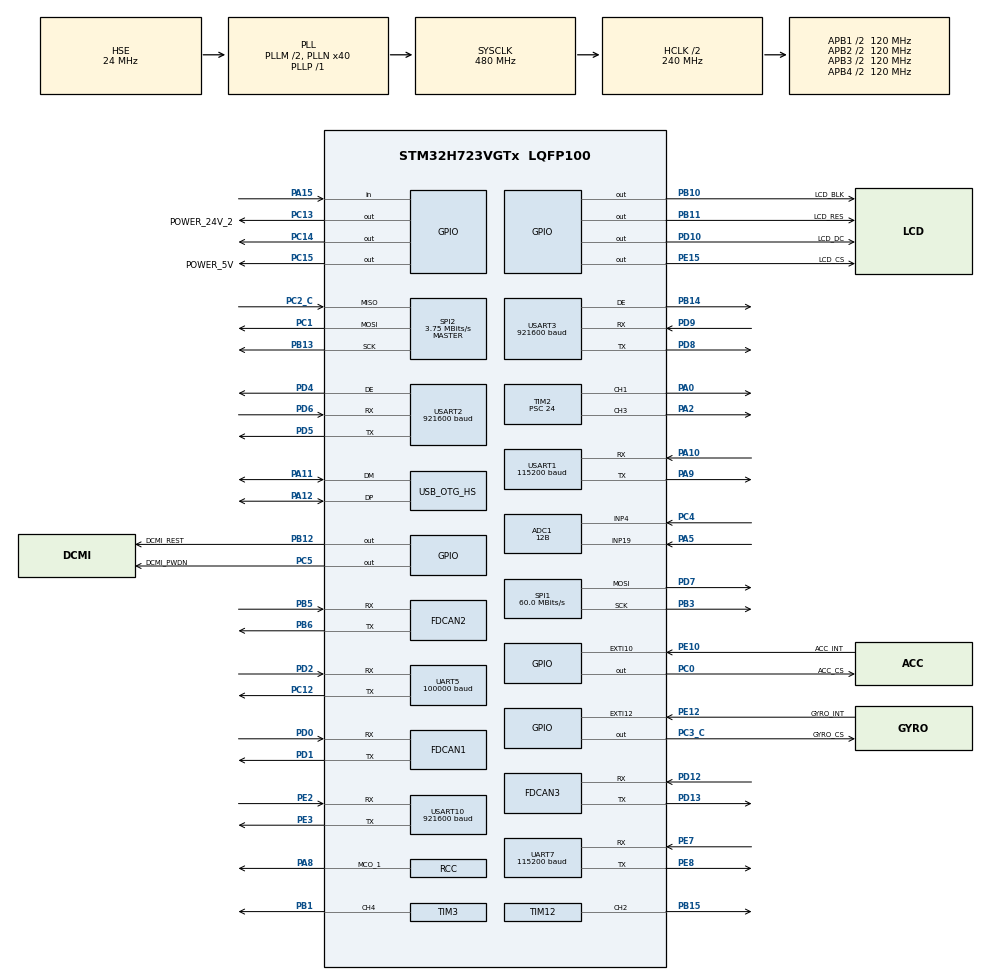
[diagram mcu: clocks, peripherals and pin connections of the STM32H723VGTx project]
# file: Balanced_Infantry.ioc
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ADC1.Channel-2\#ChannelRegularConversion=ADC_CHANNEL_4
ADC1.Channel-3\#ChannelRegularConversion=ADC_CHANNEL_19
ADC1.ClockPrescaler=ADC_CLOCK_ASYNC_DIV16
ADC1.ContinuousConvMode=ENABLE
ADC1.ConversionDataManagement=ADC_CONVERSIONDATA_DMA_CIRCULAR
ADC1.NbrOfConversion=2
ADC1.NbrOfConversionFlag=1
ADC1.OffsetNumber-2\#ChannelRegularConversion=ADC_OFFSET_NONE
ADC1.OffsetNumber-3\#ChannelRegularConversion=ADC_OFFSET_NONE
ADC1.OffsetSignedSaturation-2\#ChannelRegularConversion=DISABLE
ADC1.Rank-2\#ChannelRegularConversion=1
ADC1.Rank-3\#ChannelRegularConversion=2
ADC1.Resolution=ADC_RESOLUTION_12B
ADC1.SamplingTime-2\#ChannelRegularConversion=ADC_SAMPLETIME_32CYCLES_5
ADC1.SamplingTime-3\#ChannelRegularConversion=ADC_SAMPLETIME_32CYCLES_5
ADC1.master=1
ADC3.Channel-0\#ChannelRegularConversion=ADC_CHANNEL_TEMPSENSOR
ADC3.ClockPrescaler=ADC_CLOCK_ASYNC_DIV16
ADC3.NbrOfConversionFlag=1
ADC3.OffsetNumber-0\#ChannelRegularConversion=ADC_OFFSET_NONE
ADC3.OffsetSign-0\#ChannelRegularConversion=ADC3_OFFSET_SIGN_NEGATIVE
ADC3.Rank-0\#ChannelRegularConversion=1
ADC3.SamplingTime-0\#ChannelRegularConversion=ADC3_SAMPLETIME_2CYCLES_5
CORTEX_M7.AccessPermission-Cortex_Memory_Protection_Unit_Region0_Settings=MPU_REGION_FULL_ACCESS
CORTEX_M7.BaseAddress-Cortex_Memory_Protection_Unit_Region0_Settings=0x24000000
CORTEX_M7.CPU_DCache=Enabled
CORTEX_M7.CPU_ICache=Enabled
CORTEX_M7.Enable-Cortex_Memory_Protection_Unit_Region0_Settings=MPU_REGION_ENABLE
CORTEX_M7.Enable-Cortex_Memory_Protection_Unit_Region1_Settings=__NULL
CORTEX_M7.IsBufferable-Cortex_Memory_Protection_Unit_Region0_Settings=MPU_ACCESS_BUFFERABLE
CORTEX_M7.IsCacheable-Cortex_Memory_Protection_Unit_Region0_Settings=MPU_ACCESS_CACHEABLE
CORTEX_M7.IsShareable-Cortex_Memory_Protection_Unit_Region0_Settings=MPU_ACCESS_SHAREABLE
CORTEX_M7.MPU_Control=MPU_HFNMI_PRIVDEF
CORTEX_M7.Size-Cortex_Memory_Protection_Unit_Region0_Settings=MPU_REGION_SIZE_512KB
CORTEX_M7.TypeExtField-Cortex_Memory_Protection_Unit_Region0_Settings=MPU_TEX_LEVEL0
Dma.ADC1.4.Direction=DMA_PERIPH_TO_MEMORY
Dma.ADC1.4.EventEnable=DISABLE
Dma.ADC1.4.FIFOMode=DMA_FIFOMODE_DISABLE
Dma.ADC1.4.Instance=DMA1_Stream3
Dma.ADC1.4.MemDataAlignment=DMA_MDATAALIGN_HALFWORD
Dma.ADC1.4.MemInc=DMA_MINC_ENABLE
Dma.ADC1.4.Mode=DMA_CIRCULAR
Dma.ADC1.4.PeriphDataAlignment=DMA_PDATAALIGN_HALFWORD
Dma.ADC1.4.PeriphInc=DMA_PINC_DISABLE
Dma.ADC1.4.Polarity=HAL_DMAMUX_REQ_GEN_RISING
Dma.ADC1.4.Priority=DMA_PRIORITY_LOW
Dma.ADC1.4.RequestNumber=1
Dma.ADC1.4.SignalID=NONE
Dma.ADC1.4.SyncEnable=DISABLE
Dma.ADC1.4.SyncPolarity=HAL_DMAMUX_SYNC_NO_EVENT
Dma.ADC1.4.SyncRequestNumber=1
Dma.ADC1.4.SyncSignalID=NONE
Dma.Request0=USART1_RX
Dma.Request1=USART1_TX
Dma.Request10=USART10_TX
Dma.Request2=UART5_RX
Dma.Request3=SPI1_TX
Dma.Request4=ADC1
Dma.Request5=USART3_RX
Dma.Request6=USART3_TX
Dma.Request7=UART7_RX
Dma.Request8=UART7_TX
Dma.Request9=USART10_RX
Dma.SPI1_TX.3.Direction=DMA_MEMORY_TO_PERIPH
Dma.SPI1_TX.3.EventEnable=DISABLE
Dma.SPI1_TX.3.FIFOMode=DMA_FIFOMODE_DISABLE
Dma.SPI1_TX.3.Instance=DMA2_Stream1
Dma.SPI1_TX.3.MemDataAlignment=DMA_MDATAALIGN_BYTE
Dma.SPI1_TX.3.MemInc=DMA_MINC_ENABLE
Dma.SPI1_TX.3.Mode=DMA_NORMAL
Dma.SPI1_TX.3.PeriphDataAlignment=DMA_PDATAALIGN_BYTE
Dma.SPI1_TX.3.PeriphInc=DMA_PINC_DISABLE
Dma.SPI1_TX.3.Polarity=HAL_DMAMUX_REQ_GEN_RISING
Dma.SPI1_TX.3.Priority=DMA_PRIORITY_LOW
Dma.SPI1_TX.3.RequestNumber=1
Dma.SPI1_TX.3.SignalID=NONE
Dma.SPI1_TX.3.SyncEnable=DISABLE
Dma.SPI1_TX.3.SyncPolarity=HAL_DMAMUX_SYNC_NO_EVENT
Dma.SPI1_TX.3.SyncRequestNumber=1
Dma.SPI1_TX.3.SyncSignalID=NONE
Dma.UART5_RX.2.Direction=DMA_PERIPH_TO_MEMORY
Dma.UART5_RX.2.EventEnable=DISABLE
Dma.UART5_RX.2.FIFOMode=DMA_FIFOMODE_DISABLE
Dma.UART5_RX.2.Instance=DMA1_Stream0
Dma.UART5_RX.2.MemDataAlignment=DMA_MDATAALIGN_BYTE
Dma.UART5_RX.2.MemInc=DMA_MINC_ENABLE
Dma.UART5_RX.2.Mode=DMA_CIRCULAR
Dma.UART5_RX.2.PeriphDataAlignment=DMA_PDATAALIGN_BYTE
Dma.UART5_RX.2.PeriphInc=DMA_PINC_DISABLE
Dma.UART5_RX.2.Polarity=HAL_DMAMUX_REQ_GEN_RISING
Dma.UART5_RX.2.Priority=DMA_PRIORITY_LOW
Dma.UART5_RX.2.RequestNumber=1
Dma.UART5_RX.2.SignalID=NONE
Dma.UART5_RX.2.SyncEnable=DISABLE
Dma.UART5_RX.2.SyncPolarity=HAL_DMAMUX_SYNC_NO_EVENT
Dma.UART5_RX.2.SyncRequestNumber=1
Dma.UART5_RX.2.SyncSignalID=NONE
Dma.UART7_RX.7.Direction=DMA_PERIPH_TO_MEMORY
Dma.UART7_RX.7.EventEnable=DISABLE
Dma.UART7_RX.7.FIFOMode=DMA_FIFOMODE_DISABLE
Dma.UART7_RX.7.Instance=DMA1_Stream6
Dma.UART7_RX.7.MemDataAlignment=DMA_MDATAALIGN_BYTE
Dma.UART7_RX.7.MemInc=DMA_MINC_ENABLE
Dma.UART7_RX.7.Mode=DMA_NORMAL
Dma.UART7_RX.7.PeriphDataAlignment=DMA_PDATAALIGN_BYTE
Dma.UART7_RX.7.PeriphInc=DMA_PINC_DISABLE
Dma.UART7_RX.7.Polarity=HAL_DMAMUX_REQ_GEN_RISING
Dma.UART7_RX.7.Priority=DMA_PRIORITY_LOW
Dma.UART7_RX.7.RequestNumber=1
Dma.UART7_RX.7.SignalID=NONE
Dma.UART7_RX.7.SyncEnable=DISABLE
Dma.UART7_RX.7.SyncPolarity=HAL_DMAMUX_SYNC_NO_EVENT
Dma.UART7_RX.7.SyncRequestNumber=1
Dma.UART7_RX.7.SyncSignalID=NONE
Dma.UART7_TX.8.Direction=DMA_MEMORY_TO_PERIPH
Dma.UART7_TX.8.EventEnable=DISABLE
Dma.UART7_TX.8.FIFOMode=DMA_FIFOMODE_DISABLE
Dma.UART7_TX.8.Instance=DMA1_Stream7
Dma.UART7_TX.8.MemDataAlignment=DMA_MDATAALIGN_BYTE
Dma.UART7_TX.8.MemInc=DMA_MINC_ENABLE
Dma.UART7_TX.8.Mode=DMA_NORMAL
Dma.UART7_TX.8.PeriphDataAlignment=DMA_PDATAALIGN_BYTE
Dma.UART7_TX.8.PeriphInc=DMA_PINC_DISABLE
Dma.UART7_TX.8.Polarity=HAL_DMAMUX_REQ_GEN_RISING
Dma.UART7_TX.8.Priority=DMA_PRIORITY_LOW
Dma.UART7_TX.8.RequestNumber=1
Dma.UART7_TX.8.SignalID=NONE
Dma.UART7_TX.8.SyncEnable=DISABLE
Dma.UART7_TX.8.SyncPolarity=HAL_DMAMUX_SYNC_NO_EVENT
Dma.UART7_TX.8.SyncRequestNumber=1
Dma.UART7_TX.8.SyncSignalID=NONE
Dma.USART10_RX.9.Direction=DMA_PERIPH_TO_MEMORY
Dma.USART10_RX.9.EventEnable=DISABLE
Dma.USART10_RX.9.FIFOMode=DMA_FIFOMODE_DISABLE
Dma.USART10_RX.9.Instance=DMA2_Stream0
Dma.USART10_RX.9.MemDataAlignment=DMA_MDATAALIGN_BYTE
Dma.USART10_RX.9.MemInc=DMA_MINC_ENABLE
Dma.USART10_RX.9.Mode=DMA_NORMAL
Dma.USART10_RX.9.PeriphDataAlignment=DMA_PDATAALIGN_BYTE
Dma.USART10_RX.9.PeriphInc=DMA_PINC_DISABLE
Dma.USART10_RX.9.Polarity=HAL_DMAMUX_REQ_GEN_RISING
Dma.USART10_RX.9.Priority=DMA_PRIORITY_LOW
Dma.USART10_RX.9.RequestNumber=1
Dma.USART10_RX.9.SignalID=NONE
Dma.USART10_RX.9.SyncEnable=DISABLE
Dma.USART10_RX.9.SyncPolarity=HAL_DMAMUX_SYNC_NO_EVENT
Dma.USART10_RX.9.SyncRequestNumber=1
Dma.USART10_RX.9.SyncSignalID=NONE
Dma.USART10_TX.10.Direction=DMA_MEMORY_TO_PERIPH
Dma.USART10_TX.10.EventEnable=DISABLE
Dma.USART10_TX.10.FIFOMode=DMA_FIFOMODE_DISABLE
Dma.USART10_TX.10.Instance=DMA2_Stream2
Dma.USART10_TX.10.MemDataAlignment=DMA_MDATAALIGN_BYTE
Dma.USART10_TX.10.MemInc=DMA_MINC_ENABLE
Dma.USART10_TX.10.Mode=DMA_NORMAL
Dma.USART10_TX.10.PeriphDataAlignment=DMA_PDATAALIGN_BYTE
Dma.USART10_TX.10.PeriphInc=DMA_PINC_DISABLE
Dma.USART10_TX.10.Polarity=HAL_DMAMUX_REQ_GEN_RISING
Dma.USART10_TX.10.Priority=DMA_PRIORITY_LOW
Dma.USART10_TX.10.RequestNumber=1
Dma.USART10_TX.10.SignalID=NONE
Dma.USART10_TX.10.SyncEnable=DISABLE
Dma.USART10_TX.10.SyncPolarity=HAL_DMAMUX_SYNC_NO_EVENT
Dma.USART10_TX.10.SyncRequestNumber=1
Dma.USART10_TX.10.SyncSignalID=NONE
Dma.USART1_RX.0.Direction=DMA_PERIPH_TO_MEMORY
Dma.USART1_RX.0.EventEnable=DISABLE
Dma.USART1_RX.0.FIFOMode=DMA_FIFOMODE_DISABLE
Dma.USART1_RX.0.Instance=DMA1_Stream1
Dma.USART1_RX.0.MemDataAlignment=DMA_MDATAALIGN_BYTE
Dma.USART1_RX.0.MemInc=DMA_MINC_ENABLE
Dma.USART1_RX.0.Mode=DMA_NORMAL
Dma.USART1_RX.0.PeriphDataAlignment=DMA_PDATAALIGN_BYTE
Dma.USART1_RX.0.PeriphInc=DMA_PINC_DISABLE
Dma.USART1_RX.0.Polarity=HAL_DMAMUX_REQ_GEN_RISING
Dma.USART1_RX.0.Priority=DMA_PRIORITY_LOW
Dma.USART1_RX.0.RequestNumber=1
Dma.USART1_RX.0.SignalID=NONE
Dma.USART1_RX.0.SyncEnable=DISABLE
Dma.USART1_RX.0.SyncPolarity=HAL_DMAMUX_SYNC_NO_EVENT
Dma.USART1_RX.0.SyncRequestNumber=1
Dma.USART1_RX.0.SyncSignalID=NONE
Dma.USART1_TX.1.Direction=DMA_MEMORY_TO_PERIPH
Dma.USART1_TX.1.EventEnable=DISABLE
Dma.USART1_TX.1.FIFOMode=DMA_FIFOMODE_DISABLE
Dma.USART1_TX.1.Instance=DMA1_Stream2
Dma.USART1_TX.1.MemDataAlignment=DMA_MDATAALIGN_BYTE
Dma.USART1_TX.1.MemInc=DMA_MINC_ENABLE
Dma.USART1_TX.1.Mode=DMA_NORMAL
Dma.USART1_TX.1.PeriphDataAlignment=DMA_PDATAALIGN_BYTE
Dma.USART1_TX.1.PeriphInc=DMA_PINC_DISABLE
Dma.USART1_TX.1.Polarity=HAL_DMAMUX_REQ_GEN_RISING
Dma.USART1_TX.1.Priority=DMA_PRIORITY_LOW
Dma.USART1_TX.1.RequestNumber=1
Dma.USART1_TX.1.SignalID=NONE
Dma.USART1_TX.1.SyncEnable=DISABLE
Dma.USART1_TX.1.SyncPolarity=HAL_DMAMUX_SYNC_NO_EVENT
Dma.USART1_TX.1.SyncRequestNumber=1
Dma.USART1_TX.1.SyncSignalID=NONE
Dma.USART3_RX.5.Direction=DMA_PERIPH_TO_MEMORY
Dma.USART3_RX.5.EventEnable=DISABLE
Dma.USART3_RX.5.FIFOMode=DMA_FIFOMODE_DISABLE
Dma.USART3_RX.5.Instance=DMA1_Stream4
Dma.USART3_RX.5.MemDataAlignment=DMA_MDATAALIGN_BYTE
Dma.USART3_RX.5.MemInc=DMA_MINC_ENABLE
Dma.USART3_RX.5.Mode=DMA_NORMAL
Dma.USART3_RX.5.PeriphDataAlignment=DMA_PDATAALIGN_BYTE
Dma.USART3_RX.5.PeriphInc=DMA_PINC_DISABLE
Dma.USART3_RX.5.Polarity=HAL_DMAMUX_REQ_GEN_RISING
Dma.USART3_RX.5.Priority=DMA_PRIORITY_LOW
Dma.USART3_RX.5.RequestNumber=1
Dma.USART3_RX.5.SignalID=NONE
Dma.USART3_RX.5.SyncEnable=DISABLE
Dma.USART3_RX.5.SyncPolarity=HAL_DMAMUX_SYNC_NO_EVENT
Dma.USART3_RX.5.SyncRequestNumber=1
Dma.USART3_RX.5.SyncSignalID=NONE
Dma.USART3_TX.6.Direction=DMA_MEMORY_TO_PERIPH
Dma.USART3_TX.6.EventEnable=DISABLE
Dma.USART3_TX.6.FIFOMode=DMA_FIFOMODE_DISABLE
Dma.USART3_TX.6.Instance=DMA1_Stream5
Dma.USART3_TX.6.MemDataAlignment=DMA_MDATAALIGN_BYTE
Dma.USART3_TX.6.MemInc=DMA_MINC_ENABLE
Dma.USART3_TX.6.Mode=DMA_NORMAL
Dma.USART3_TX.6.PeriphDataAlignment=DMA_PDATAALIGN_BYTE
Dma.USART3_TX.6.PeriphInc=DMA_PINC_DISABLE
Dma.USART3_TX.6.Polarity=HAL_DMAMUX_REQ_GEN_RISING
Dma.USART3_TX.6.Priority=DMA_PRIORITY_LOW
Dma.USART3_TX.6.RequestNumber=1
Dma.USART3_TX.6.SignalID=NONE
Dma.USART3_TX.6.SyncEnable=DISABLE
Dma.USART3_TX.6.SyncPolarity=HAL_DMAMUX_SYNC_NO_EVENT
Dma.USART3_TX.6.SyncRequestNumber=1
Dma.USART3_TX.6.SyncSignalID=NONE
FDCAN1.AutoRetransmission=ENABLE
FDCAN1.CalculateBaudRateNominal=1000000
FDCAN1.CalculateTimeBitNominal=1000
FDCAN1.CalculateTimeQuantumNominal=200.0
FDCAN1.DataSyncJumpWidth=1
FDCAN1.DataTimeSeg1=1
FDCAN1.DataTimeSeg2=1
FDCAN1.ExtFiltersNbr=0
FDCAN1.FrameFormat=FDCAN_FRAME_CLASSIC
FDCAN1.NominalPrescaler=24
FDCAN1.NominalSyncJumpWidth=1
FDCAN1.NominalTimeSeg1=2
FDCAN1.NominalTimeSeg2=2
FDCAN1.ProtocolException=ENABLE
FDCAN1.RxBuffersNbr=0
FDCAN1.RxFifo0ElmtsNbr=32
FDCAN1.RxFifo1ElmtsNbr=0
FDCAN1.StdFiltersNbr=1
FDCAN1.TxBuffersNbr=0
FDCAN1.TxEventsNbr=0
FDCAN1.TxFifoQueueElmtsNbr=32
FDCAN2.AutoRetransmission=ENABLE
FDCAN2.CalculateBaudRateNominal=1000000
FDCAN2.CalculateTimeBitNominal=1000
FDCAN2.CalculateTimeQuantumNominal=200.0
FDCAN2.MessageRAMOffset=0x406
FDCAN2.NominalPrescaler=24
FDCAN2.ProtocolException=ENABLE
FDCAN2.RxFifo0ElmtsNbr=32
FDCAN2.StdFiltersNbr=1
FDCAN2.TxFifoQueueElmtsNbr=32
FDCAN3.AutoRetransmission=ENABLE
FDCAN3.CalculateBaudRateNominal=1000000
FDCAN3.CalculateTimeBitNominal=1000
FDCAN3.CalculateTimeQuantumNominal=200.0
FDCAN3.MessageRAMOffset=0x812
FDCAN3.NominalPrescaler=24
FDCAN3.ProtocolException=ENABLE
FDCAN3.RxFifo0ElmtsNbr=32
FDCAN3.StdFiltersNbr=1
FDCAN3.TxFifoQueueElmtsNbr=32
FREERTOS.INCLUDE_eTaskGetState=1
FREERTOS.INCLUDE_uxTaskGetStackHighWaterMark=1
FREERTOS.INCLUDE_vTaskDelayUntil=1
FREERTOS.INCLUDE_xQueueGetMutexHolder=1
FREERTOS.INCLUDE_xTaskGetCurrentTaskHandle=1
FREERTOS.INCLUDE_xTimerPendFunctionCall=1
FREERTOS.Tasks01=defaultTask,-3,128,StartDefaultTask,Default,NULL,Dynamic,NULL,NULL;ImuTask,2,1024,ImuTask_Entry,As weak,NULL,Static,ImuTaskBuffer,ImuTaskControlBlock;BuzzerTask,-1,128,Buzzer_Task,As weak,NULL,Static,BuzzerTaskBuffer,BuzzerTaskControlBlock
FREERTOS.configENABLE_FPU=1
FREERTOS.configUSE_COUNTING_SEMAPHORES=1
FREERTOS.configUSE_RECURSIVE_MUTEXES=1
FREERTOS.configUSE_TIMERS=1
FREERTOS.configUSE_TRACE_FACILITY=1
Mcu.Family=STM32H7
Mcu.Name=STM32H723VGTx
Mcu.Package=LQFP100
NVIC.DMA1_Stream0_IRQn=true\:5\:0\:false\:false\:true\:false\:false\:true\:true
NVIC.DMA1_Stream1_IRQn=true\:5\:0\:false\:false\:true\:true\:false\:true\:true
NVIC.DMA1_Stream2_IRQn=true\:5\:0\:false\:false\:true\:true\:false\:true\:true
NVIC.DMA1_Stream3_IRQn=true\:5\:0\:false\:false\:true\:true\:false\:true\:true
NVIC.DMA1_Stream4_IRQn=true\:5\:0\:false\:false\:true\:true\:false\:true\:true
NVIC.DMA1_Stream5_IRQn=true\:5\:0\:false\:false\:true\:true\:false\:true\:true
NVIC.DMA1_Stream6_IRQn=true\:5\:0\:false\:false\:true\:true\:false\:true\:true
NVIC.DMA1_Stream7_IRQn=true\:5\:0\:false\:false\:true\:true\:false\:true\:true
NVIC.DMA2_Stream0_IRQn=true\:5\:0\:false\:false\:true\:true\:false\:true\:true
NVIC.DMA2_Stream1_IRQn=true\:5\:0\:false\:false\:true\:false\:false\:true\:true
NVIC.DMA2_Stream2_IRQn=true\:5\:0\:false\:false\:true\:true\:false\:true\:true
NVIC.FDCAN1_IT0_IRQn=true\:5\:0\:false\:false\:true\:true\:true\:true\:true
NVIC.FDCAN1_IT1_IRQn=true\:5\:0\:false\:false\:true\:true\:true\:true\:true
NVIC.FDCAN2_IT0_IRQn=true\:5\:0\:false\:false\:true\:true\:true\:true\:true
NVIC.FDCAN2_IT1_IRQn=true\:5\:0\:false\:false\:true\:true\:true\:true\:true
NVIC.FDCAN3_IT0_IRQn=true\:5\:0\:false\:false\:true\:true\:true\:true\:true
NVIC.FDCAN3_IT1_IRQn=true\:5\:0\:false\:false\:true\:true\:true\:true\:true
NVIC.FDCAN_CAL_IRQn=true\:5\:0\:false\:false\:true\:true\:true\:true\:true
NVIC.OTG_HS_IRQn=true\:5\:0\:false\:false\:true\:true\:false\:true\:true
NVIC.PriorityGroup=NVIC_PRIORITYGROUP_4
NVIC.SPI1_IRQn=true\:5\:0\:false\:false\:true\:true\:false\:true\:true
NVIC.TIM23_IRQn=true\:15\:0\:false\:false\:true\:false\:false\:true\:true
NVIC.TIM6_DAC_IRQn=true\:5\:0\:false\:false\:false\:true\:true\:true\:true
NVIC.TimeBase=TIM23_IRQn
NVIC.TimeBaseIP=TIM23
NVIC.UART5_IRQn=true\:5\:0\:false\:false\:true\:true\:true\:true\:true
NVIC.UART7_IRQn=true\:5\:0\:true\:false\:true\:false\:true\:true\:true
NVIC.USART10_IRQn=true\:5\:0\:true\:false\:true\:false\:true\:true\:true
NVIC.USART1_IRQn=true\:5\:0\:true\:false\:true\:false\:true\:true\:true
NVIC.USART2_IRQn=true\:5\:0\:true\:false\:true\:false\:true\:true\:true
NVIC.USART3_IRQn=true\:5\:0\:true\:false\:true\:false\:true\:true\:true
PA0.Signal=S_TIM2_CH1_ETR
PA10.Mode=Asynchronous
PA10.Signal=USART1_RX
PA11.Mode=Device_Only_FS
PA11.Signal=USB_OTG_HS_DM
PA12.Mode=Device_Only_FS
PA12.Signal=USB_OTG_HS_DP
PA13(JTMS/SWDIO).Mode=Serial_Wire
PA13(JTMS/SWDIO).Signal=DEBUG_JTMS-SWDIO
PA14(JTCK/SWCLK).Mode=Serial_Wire
PA14(JTCK/SWCLK).Signal=DEBUG_JTCK-SWCLK
PA15(JTDI).Signal=GPIO_Input
PA2.Signal=S_TIM2_CH3
PA5.Signal=ADCx_INP19
PA8.Mode=Clock-out-1
PA8.Signal=RCC_MCO_1
PA9.Mode=Asynchronous
PA9.Signal=USART1_TX
PB1.Signal=S_TIM3_CH4
PB10.GPIO_Label=LCD_BLK
PB10.GPIO_Speed=GPIO_SPEED_FREQ_VERY_HIGH
PB10.Signal=GPIO_Output
PB11.GPIO_Label=LCD_RES
PB11.GPIO_Speed=GPIO_SPEED_FREQ_VERY_HIGH
PB11.Signal=GPIO_Output
PB12.GPIO_Label=DCMI_REST
PB12.GPIO_PuPd=GPIO_PULLUP
PB12.GPIO_Speed=GPIO_SPEED_FREQ_VERY_HIGH
PB12.PinState=GPIO_PIN_SET
PB12.Signal=GPIO_Output
PB13.GPIO_Speed=GPIO_SPEED_FREQ_VERY_HIGH
PB13.Mode=Full_Duplex_Master
PB13.Signal=SPI2_SCK
PB14.Mode=Hardware Flow Control (RS485)
PB14.Signal=USART3_DE
PB15.Signal=S_TIM12_CH2
PB3(JTDO/TRACESWO).GPIO_Speed=GPIO_SPEED_FREQ_VERY_HIGH
PB3(JTDO/TRACESWO).Mode=TX_Only_Simplex_Unidirect_Master
PB3(JTDO/TRACESWO).Signal=SPI1_SCK
PB5.GPIO_Speed=GPIO_SPEED_FREQ_VERY_HIGH
PB5.Mode=FDCAN_Activate
PB5.Signal=FDCAN2_RX
PB6.GPIO_Speed=GPIO_SPEED_FREQ_VERY_HIGH
PB6.Mode=FDCAN_Activate
PB6.Signal=FDCAN2_TX
PC0.GPIO_Label=ACC_CS
PC0.GPIO_Speed=GPIO_SPEED_FREQ_VERY_HIGH
PC0.PinState=GPIO_PIN_SET
PC0.Signal=GPIO_Output
PC1.GPIO_Speed=GPIO_SPEED_FREQ_VERY_HIGH
PC1.Mode=Full_Duplex_Master
PC1.Signal=SPI2_MOSI
PC12.GPIO_Speed=GPIO_SPEED_FREQ_LOW
PC12.Mode=Asynchronous
PC12.Signal=UART5_TX
PC13.GPIO_Label=POWER_24V_2
PC13.PinState=GPIO_PIN_SET
PC13.Signal=GPIO_Output
PC14-OSC32_IN.Signal=GPIO_Output
PC15-OSC32_OUT.GPIO_Label=POWER_5V
PC15-OSC32_OUT.PinState=GPIO_PIN_SET
PC15-OSC32_OUT.Signal=GPIO_Output
PC2_C.GPIO_Speed=GPIO_SPEED_FREQ_VERY_HIGH
PC2_C.Mode=Full_Duplex_Master
PC2_C.Signal=SPI2_MISO
PC3_C.GPIO_Label=GYRO_CS
PC3_C.GPIO_Speed=GPIO_SPEED_FREQ_VERY_HIGH
PC3_C.PinState=GPIO_PIN_SET
PC3_C.Signal=GPIO_Output
PC4.Signal=ADCx_INP4
PC5.GPIO_Label=DCMI_PWDN
PC5.GPIO_PuPd=GPIO_NOPULL
PC5.GPIO_Speed=GPIO_SPEED_FREQ_VERY_HIGH
PC5.PinState=GPIO_PIN_SET
PC5.Signal=GPIO_Output
PD0.GPIO_Speed=GPIO_SPEED_FREQ_VERY_HIGH
PD0.Mode=FDCAN_Activate
PD0.Signal=FDCAN1_RX
PD1.GPIO_Speed=GPIO_SPEED_FREQ_VERY_HIGH
PD1.Mode=FDCAN_Activate
PD1.Signal=FDCAN1_TX
PD10.GPIO_Label=LCD_DC
PD10.GPIO_Speed=GPIO_SPEED_FREQ_VERY_HIGH
PD10.Signal=GPIO_Output
PD12.Mode=FDCAN_Activate
PD12.Signal=FDCAN3_RX
PD13.Mode=FDCAN_Activate
PD13.Signal=FDCAN3_TX
PD2.GPIO_Speed=GPIO_SPEED_FREQ_LOW
PD2.Mode=Asynchronous
PD2.Signal=UART5_RX
PD4.Mode=Hardware Flow Control (RS485)
PD4.Signal=USART2_DE
PD5.Mode=Asynchronous
PD5.Signal=USART2_TX
PD6.Mode=Asynchronous
PD6.Signal=USART2_RX
PD7.GPIO_Speed=GPIO_SPEED_FREQ_VERY_HIGH
PD7.Mode=TX_Only_Simplex_Unidirect_Master
PD7.Signal=SPI1_MOSI
PD8.Mode=Asynchronous
PD8.Signal=USART3_TX
PD9.Mode=Asynchronous
PD9.Signal=USART3_RX
PE10.GPIO_Label=ACC_INT
PE10.Signal=GPXTI10
PE12.GPIO_Label=GYRO_INT
PE12.Signal=GPXTI12
PE15.GPIO_Label=LCD_CS
PE15.GPIO_Speed=GPIO_SPEED_FREQ_VERY_HIGH
PE15.Signal=GPIO_Output
PE2.Mode=Asynchronous
PE2.Signal=USART10_RX
PE3.Mode=Asynchronous
PE3.Signal=USART10_TX
PE7.Mode=Asynchronous
PE7.Signal=UART7_RX
PE8.Mode=Asynchronous
PE8.Signal=UART7_TX
PE9.Signal=S_TIM1_CH1
PH0-OSC_IN.Mode=HSE-External-Oscillator
PH0-OSC_IN.Signal=RCC_OSC_IN
PH1-OSC_OUT.Mode=HSE-External-Oscillator
PH1-OSC_OUT.Signal=RCC_OSC_OUT
ProjectManager.HeapSize=0x1000
ProjectManager.StackSize=0x2000
ProjectManager.TargetToolchain=STM32CubeIDE
RCC.ADCFreq_Value=96000000
RCC.APB1Freq_Value=120000000
RCC.APB2Freq_Value=120000000
RCC.APB3Freq_Value=120000000
RCC.APB4Freq_Value=120000000
RCC.CortexFreq_Value=480000000
RCC.D1PPRE=RCC_APB3_DIV2
RCC.D2PPRE1=RCC_APB1_DIV2
RCC.D2PPRE2=RCC_APB2_DIV2
RCC.D3PPRE=RCC_APB4_DIV2
RCC.DIVM1=2
RCC.DIVM2=2
RCC.DIVN1=40
RCC.DIVN2=16
RCC.DIVP1=1
RCC.DIVQ1=4
RCC.HCLKFreq_Value=240000000
RCC.HPRE=RCC_HCLK_DIV2
RCC.HSE_VALUE=24000000
RCC.PLL2FRACN=0
RCC.PLL2_VCI_Range-AdvancedSettings=RCC_PLL2VCIRANGE_0
RCC.PLL2_VCO_SEL-AdvancedSettings=RCC_PLL2VCOMEDIUM
RCC.PLL3FRACN=0
RCC.PLL3_VCO_SEL-AdvancedSettings=RCC_PLL3VCOMEDIUM
RCC.PLLFRACN=0
RCC.PLLSourceVirtual=RCC_PLLSOURCE_HSE
RCC.SPI6CLockSelection=RCC_SPI6CLKSOURCE_HSE
RCC.SYSCLKFreq_VALUE=480000000
RCC.SYSCLKSource=RCC_SYSCLKSOURCE_PLLCLK
RCC.USBCLockSelection=RCC_USBCLKSOURCE_HSI48
RCC.USBFreq_Value=48000000
SH.ADCx_INP19.0=ADC1_INP19,IN19-Single-Ended
SH.ADCx_INP4.0=ADC1_INP4,IN4-Single-Ended
SH.S_TIM12_CH2.0=TIM12_CH2,PWM Generation2 CH2
SH.S_TIM1_CH1.0=TIM1_CH1
SH.S_TIM2_CH1_ETR.0=TIM2_CH1,PWM Generation1 CH1
SH.S_TIM2_CH3.0=TIM2_CH3,PWM Generation3 CH3
SH.S_TIM3_CH4.0=TIM3_CH4,PWM Generation4 CH4
SPI1.BaudRatePrescaler=SPI_BAUDRATEPRESCALER_2
SPI1.CLKPolarity=SPI_POLARITY_HIGH
SPI1.CalculateBaudRate=60.0 MBits/s
SPI1.DataSize=SPI_DATASIZE_8BIT
SPI1.Direction=SPI_DIRECTION_2LINES_TXONLY
SPI1.Mode=SPI_MODE_MASTER
SPI1.VirtualType=VM_MASTER
SPI2.BaudRatePrescaler=SPI_BAUDRATEPRESCALER_32
SPI2.CLKPhase=SPI_PHASE_2EDGE
SPI2.CLKPolarity=SPI_POLARITY_HIGH
SPI2.CalculateBaudRate=3.75 MBits/s
SPI2.DataSize=SPI_DATASIZE_8BIT
SPI2.Direction=SPI_DIRECTION_2LINES
SPI2.Mode=SPI_MODE_MASTER
SPI2.VirtualType=VM_MASTER
TIM1.Period=10000
TIM1.Prescaler=2400
TIM12.Channel-PWM\ Generation2\ CH2=TIM_CHANNEL_2
TIM12.Period=1999
TIM12.Prescaler=23
TIM2.Channel-PWM\ Generation1\ CH1=TIM_CHANNEL_1
TIM2.Channel-PWM\ Generation3\ CH3=TIM_CHANNEL_3
TIM2.Period=10000
TIM2.Prescaler=24
TIM2.Pulse-PWM\ Generation1\ CH1=5000
TIM2.Pulse-PWM\ Generation3\ CH3=5000
TIM3.AutoReloadPreload=TIM_AUTORELOAD_PRELOAD_ENABLE
TIM3.Channel-PWM\ Generation4\ CH4=TIM_CHANNEL_4
TIM3.Period=10000-1
TIM3.Prescaler=24-1
TIM6.AutoReloadPreload=TIM_AUTORELOAD_PRELOAD_ENABLE
TIM6.Period=999
TIM6.Prescaler=239
UART5.BaudRate=100000
UART5.Parity=PARITY_EVEN
UART5.StopBits=UART_STOPBITS_2
UART5.WordLength=WORDLENGTH_9B
UART7.BaudRate=115200
USART1.BaudRate=115200
USART1.VirtualMode-Asynchronous=VM_ASYNC
USART10.BaudRate=921600
USART10.VirtualMode=VM_ASYNC
USART2.BaudRate=921600
USART2.VirtualMode-Asynchronous=VM_ASYNC
USART2.VirtualMode-Hardware\ Flow\ Control\ (RS485)=VM_ASYNC
USART3.BaudRate=921600
USART3.VirtualMode-Asynchronous=VM_ASYNC
USART3.VirtualMode-Hardware\ Flow\ Control\ (RS485)=VM_ASYNC
USB_DEVICE.CLASS_NAME_HS=CDC
USB_DEVICE.VirtualMode=Cdc
USB_DEVICE.VirtualModeHS=Cdc_HS
USB_OTG_HS.VirtualMode-Device_Only_FS=Device_Only_FS
VP_ADC3_TempSens_Input.Mode=IN-TempSens
VP_FREERTOS_VS_CMSIS_V1.Mode=CMSIS_V1
VP_MEMORYMAP_VS_MEMORYMAP.Mode=CurAppReg
VP_SYS_VS_tim23.Mode=TIM23
VP_TIM12_VS_ClockSourceINT.Mode=Internal
VP_TIM1_VS_ClockSourceINT.Mode=Internal
VP_TIM6_VS_ClockSourceINT.Mode=Enable_Timer
VP_USB_DEVICE_VS_USB_DEVICE_CDC_HS.Mode=CDC_HS
board=custom

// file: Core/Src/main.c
/* USER CODE BEGIN Header */
/**
  ******************************************************************************
  * @file           : main.c
  * @brief          : Main program body
  ******************************************************************************
  * @attention
  *
  * Copyright (c) 2024 STMicroelectronics.
  * All rights reserved.
  *
  * This software is licensed under terms that can be found in the LICENSE file
  * in the root directory of this software component.
  * If no LICENSE file comes with this software, it is provided AS-IS.
  *
  ******************************************************************************
  */
/* USER CODE END Header */
#include "main.h"
#include "cmsis_os.h"
#include "adc.h"
#include "dma.h"
#include "fdcan.h"
#include "memorymap.h"
#include "spi.h"
#include "tim.h"
#include "usart.h"
#include "usb_device.h"
#include "gpio.h"

/* USER CODE BEGIN Includes */

#include "bsp_can.h"
#include "bsp_usart.h"
#include "bsp_dwt.h"
#include "remote_control.h"
#include "Buzzer_Task.h"
#include "Detect_Task.h"
#include "bsp_can.h"
#include "bsp_motor.h"
#include "dm_motor_drv.h"
#include "imu_temp_ctrl.h"

/* USER CODE END Includes */

void SystemClock_Config(void);
void PeriphCommonClock_Config(void);
static void MPU_Config(void);
void MX_FREERTOS_Init(void);

/* USER CODE BEGIN 0 */

uint8_t send_temp[8]={0};

/* USER CODE END 0 */

int main(void)
{

  /* MPU Configuration--------------------------------------------------------*/
  MPU_Config();

  /* Enable the CPU Cache */

  /* Enable I-Cache---------------------------------------------------------*/
  SCB_EnableICache();

  /* Enable D-Cache---------------------------------------------------------*/
  SCB_EnableDCache();

  /* MCU Configuration--------------------------------------------------------*/

  /* Reset of all peripherals, Initializes the Flash interface and the Systick. */
  HAL_Init();

  /* Configure the system clock */
  SystemClock_Config();

  /* Configure the peripherals common clocks */
  PeriphCommonClock_Config();

  /* Initialize all configured peripherals */
  MX_GPIO_Init();
  MX_DMA_Init();
  MX_ADC1_Init();
  MX_SPI2_Init();
  MX_TIM3_Init();
  MX_USART1_UART_Init();
  MX_USART2_UART_Init();
  MX_USART3_UART_Init();
  MX_UART7_Init();
  MX_USART10_UART_Init();
  MX_FDCAN1_Init();
  MX_FDCAN2_Init();
  MX_FDCAN3_Init();
  MX_TIM1_Init();
  MX_TIM2_Init();
  MX_ADC3_Init();
  MX_TIM12_Init();
  MX_UART5_Init();
  MX_SPI1_Init();
  MX_TIM6_Init();
  /* USER CODE BEGIN 2 */

    can_bsp_init();

    usart_init();

    DWT_Init(480);

/*************************开机自检**********************/
    while(!(update_flag.acc
    &&update_flag.gyro
    &&update_flag.euler))
    { HAL_Delay(10);}

    for(uint8_t i=0;i<5;i++)
    {
        fdcanx_send_data(&hfdcan2,0x280,send_temp,8);
        HAL_Delay(2);
    }

    while(!(update_flag.hub_left&&
            update_flag.hub_right
            ))
    { HAL_Delay(10);}

    dm_motor_init();
    enable_all_motor_bare();
    while(!(dm_motor[Motor1].para.state==motor_enable
    &&dm_motor[Motor2].para.state==motor_enable
    &&dm_motor[Motor3].para.state==motor_enable
    &&dm_motor[Motor4].para.state==motor_enable))
    {HAL_Delay(1);}

    HAL_TIM_Base_Start_IT(&htim6);

/**************************************************************/

  /* USER CODE END 2 */

  /* Call init function for freertos objects (in cmsis_os2.c) */
  MX_FREERTOS_Init();

  /* Start scheduler */
  osKernelStart();

  /* We should never get here as control is now taken by the scheduler */

  /* Infinite loop */
  while (1)
  {

  }
}

void SystemClock_Config(void)
{
  RCC_OscInitTypeDef RCC_OscInitStruct = {0};
  RCC_ClkInitTypeDef RCC_ClkInitStruct = {0};

  /** Supply configuration update enable
  */
  HAL_PWREx_ConfigSupply(PWR_LDO_SUPPLY);

  /** Configure the main internal regulator output voltage
  */
  __HAL_PWR_VOLTAGESCALING_CONFIG(PWR_REGULATOR_VOLTAGE_SCALE0);

  while(!__HAL_PWR_GET_FLAG(PWR_FLAG_VOSRDY)) {}

  /** Initializes the RCC Oscillators according to the specified parameters
  * in the RCC_OscInitTypeDef structure.
  */
  RCC_OscInitStruct.OscillatorType = RCC_OSCILLATORTYPE_HSI48|RCC_OSCILLATORTYPE_HSI
                              |RCC_OSCILLATORTYPE_HSE;
  RCC_OscInitStruct.HSEState = RCC_HSE_ON;
  RCC_OscInitStruct.HSIState = RCC_HSI_DIV1;
  RCC_OscInitStruct.HSICalibrationValue = 64;
  RCC_OscInitStruct.HSI48State = RCC_HSI48_ON;
  RCC_OscInitStruct.PLL.PLLState = RCC_PLL_ON;
  RCC_OscInitStruct.PLL.PLLSource = RCC_PLLSOURCE_HSE;
  RCC_OscInitStruct.PLL.PLLM = 2;
  RCC_OscInitStruct.PLL.PLLN = 40;
  RCC_OscInitStruct.PLL.PLLP = 1;
  RCC_OscInitStruct.PLL.PLLQ = 4;
  RCC_OscInitStruct.PLL.PLLR = 2;
  RCC_OscInitStruct.PLL.PLLRGE = RCC_PLL1VCIRANGE_3;
  RCC_OscInitStruct.PLL.PLLVCOSEL = RCC_PLL1VCOWIDE;
  RCC_OscInitStruct.PLL.PLLFRACN = 0;
  if (HAL_RCC_OscConfig(&RCC_OscInitStruct) != HAL_OK)
  {
    Error_Handler();
  }

  /** Initializes the CPU, AHB and APB buses clocks
  */
  RCC_ClkInitStruct.ClockType = RCC_CLOCKTYPE_HCLK|RCC_CLOCKTYPE_SYSCLK
                              |RCC_CLOCKTYPE_PCLK1|RCC_CLOCKTYPE_PCLK2
                              |RCC_CLOCKTYPE_D3PCLK1|RCC_CLOCKTYPE_D1PCLK1;
  RCC_ClkInitStruct.SYSCLKSource = RCC_SYSCLKSOURCE_PLLCLK;
  RCC_ClkInitStruct.SYSCLKDivider = RCC_SYSCLK_DIV1;
  RCC_ClkInitStruct.AHBCLKDivider = RCC_HCLK_DIV2;
  RCC_ClkInitStruct.APB3CLKDivider = RCC_APB3_DIV2;
  RCC_ClkInitStruct.APB1CLKDivider = RCC_APB1_DIV2;
  RCC_ClkInitStruct.APB2CLKDivider = RCC_APB2_DIV2;
  RCC_ClkInitStruct.APB4CLKDivider = RCC_APB4_DIV2;

  if (HAL_RCC_ClockConfig(&RCC_ClkInitStruct, FLASH_LATENCY_3) != HAL_OK)
  {
    Error_Handler();
  }
  HAL_RCC_MCOConfig(RCC_MCO1, RCC_MCO1SOURCE_HSI, RCC_MCODIV_1);
}

void PeriphCommonClock_Config(void)
{
  RCC_PeriphCLKInitTypeDef PeriphClkInitStruct = {0};

  /** Initializes the peripherals clock
  */
  PeriphClkInitStruct.PeriphClockSelection = RCC_PERIPHCLK_ADC;
  PeriphClkInitStruct.PLL2.PLL2M = 2;
  PeriphClkInitStruct.PLL2.PLL2N = 16;
  PeriphClkInitStruct.PLL2.PLL2P = 2;
  PeriphClkInitStruct.PLL2.PLL2Q = 2;
  PeriphClkInitStruct.PLL2.PLL2R = 2;
  PeriphClkInitStruct.PLL2.PLL2RGE = RCC_PLL2VCIRANGE_3;
  PeriphClkInitStruct.PLL2.PLL2VCOSEL = RCC_PLL2VCOWIDE;
  PeriphClkInitStruct.PLL2.PLL2FRACN = 0;
  PeriphClkInitStruct.AdcClockSelection = RCC_ADCCLKSOURCE_PLL2;
  if (HAL_RCCEx_PeriphCLKConfig(&PeriphClkInitStruct) != HAL_OK)
  {
    Error_Handler();
  }
}

 /* MPU Configuration */

void MPU_Config(void)
{
  MPU_Region_InitTypeDef MPU_InitStruct = {0};

  /* Disables the MPU */
  HAL_MPU_Disable();

  /** Initializes and configures the Region and the memory to be protected
  */
  MPU_InitStruct.Enable = MPU_REGION_ENABLE;
  MPU_InitStruct.Number = MPU_REGION_NUMBER0;
  MPU_InitStruct.BaseAddress = 0x24000000;
  MPU_InitStruct.Size = MPU_REGION_SIZE_512KB;
  MPU_InitStruct.SubRegionDisable = 0x0;
  MPU_InitStruct.TypeExtField = MPU_TEX_LEVEL0;
  MPU_InitStruct.AccessPermission = MPU_REGION_FULL_ACCESS;
  MPU_InitStruct.DisableExec = MPU_INSTRUCTION_ACCESS_ENABLE;
  MPU_InitStruct.IsShareable = MPU_ACCESS_SHAREABLE;
  MPU_InitStruct.IsCacheable = MPU_ACCESS_CACHEABLE;
  MPU_InitStruct.IsBufferable = MPU_ACCESS_BUFFERABLE;

  HAL_MPU_ConfigRegion(&MPU_InitStruct);
  /* Enables the MPU */
  HAL_MPU_Enable(MPU_HFNMI_PRIVDEF);

}

void HAL_TIM_PeriodElapsedCallback(TIM_HandleTypeDef *htim)
{
  if (htim->Instance == TIM23) {
    HAL_IncTick();
  }
}

void Error_Handler(void)
{
  __disable_irq();
  while (1)
  {
  }
}

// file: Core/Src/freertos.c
/* USER CODE BEGIN Header */
/**
  ******************************************************************************
  * File Name          : freertos.c
  * Description        : Code for freertos applications
  ******************************************************************************
  * @attention
  *
  * Copyright (c) 2024 STMicroelectronics.
  * All rights reserved.
  *
  * This software is licensed under terms that can be found in the LICENSE file
  * in the root directory of this software component.
  * If no LICENSE file comes with this software, it is provided AS-IS.
  *
  ******************************************************************************
  */
/* USER CODE END Header */

#include "FreeRTOS.h"
#include "task.h"
#include "main.h"
#include "cmsis_os.h"

/* USER CODE BEGIN Includes */

#include "imu_temp_ctrl.h"
//#include "Algorithm.h"
#include "Chassis_Task.h"
#include "vofa.h"
#include "bsp_can.h"
#include "Detect_Task.h"
#include "Information_Task.h"
#include "Shoot_Task.h"
#include "bsp_usart.h"
#include "Gimbal_task.h"
#include "Super_cap_Task.h"
/* USER CODE END Includes */

osThreadId defaultTaskHandle;
osThreadId ImuTaskHandle;
uint32_t ImuTaskBuffer[ 1024 ];
osStaticThreadDef_t ImuTaskControlBlock;
osThreadId BuzzerTaskHandle;
uint32_t BuzzerTaskBuffer[ 128 ];
osStaticThreadDef_t BuzzerTaskControlBlock;

/* USER CODE BEGIN FunctionPrototypes */

osThreadId ChassisTaskHandle;
osThreadId DetectTaskHandle;
osThreadId InformationTaskHandle;
osThreadId ShootTaskHandle;
osThreadId GimbalTaskHandle;
osThreadId SupercapTaskHandle;

/* USER CODE END FunctionPrototypes */

void StartDefaultTask(void const * argument);
void ImuTask_Entry(void const * argument);
void Buzzer_Task(void const * argument);

extern void MX_USB_DEVICE_Init(void);
void MX_FREERTOS_Init(void); /* (MISRA C 2004 rule 8.1) */

/* GetIdleTaskMemory prototype (linked to static allocation support) */
void vApplicationGetIdleTaskMemory( StaticTask_t **ppxIdleTaskTCBBuffer, StackType_t **ppxIdleTaskStackBuffer, uint32_t *pulIdleTaskStackSize );

/* GetTimerTaskMemory prototype (linked to static allocation support) */
void vApplicationGetTimerTaskMemory( StaticTask_t **ppxTimerTaskTCBBuffer, StackType_t **ppxTimerTaskStackBuffer, uint32_t *pulTimerTaskStackSize );

/* USER CODE BEGIN GET_IDLE_TASK_MEMORY */
static StaticTask_t xIdleTaskTCBBuffer;
static StackType_t xIdleStack[configMINIMAL_STACK_SIZE];

void vApplicationGetIdleTaskMemory( StaticTask_t **ppxIdleTaskTCBBuffer, StackType_t **ppxIdleTaskStackBuffer, uint32_t *pulIdleTaskStackSize )
{
  *ppxIdleTaskTCBBuffer = &xIdleTaskTCBBuffer;
  *ppxIdleTaskStackBuffer = &xIdleStack[0];
  *pulIdleTaskStackSize = configMINIMAL_STACK_SIZE;
  /* place for user code */
}
/* USER CODE END GET_IDLE_TASK_MEMORY */

/* USER CODE BEGIN GET_TIMER_TASK_MEMORY */
static StaticTask_t xTimerTaskTCBBuffer;
static StackType_t xTimerStack[configTIMER_TASK_STACK_DEPTH];

void vApplicationGetTimerTaskMemory( StaticTask_t **ppxTimerTaskTCBBuffer, StackType_t **ppxTimerTaskStackBuffer, uint32_t *pulTimerTaskStackSize )
{
  *ppxTimerTaskTCBBuffer = &xTimerTaskTCBBuffer;
  *ppxTimerTaskStackBuffer = &xTimerStack[0];
  *pulTimerTaskStackSize = configTIMER_TASK_STACK_DEPTH;
  /* place for user code */
}
/* USER CODE END GET_TIMER_TASK_MEMORY */

void MX_FREERTOS_Init(void) {

  /* Create the thread(s) */
  /* definition and creation of defaultTask */
  osThreadDef(defaultTask, StartDefaultTask, osPriorityIdle, 0, 128);
  defaultTaskHandle = osThreadCreate(osThread(defaultTask), NULL);

  /* definition and creation of ImuTask */
  osThreadStaticDef(ImuTask, ImuTask_Entry, osPriorityHigh, 0, 1024, ImuTaskBuffer, &ImuTaskControlBlock);
  ImuTaskHandle = osThreadCreate(osThread(ImuTask), NULL);

  /* definition and creation of BuzzerTask */
  osThreadStaticDef(BuzzerTask, Buzzer_Task, osPriorityBelowNormal, 0, 128, BuzzerTaskBuffer, &BuzzerTaskControlBlock);
  BuzzerTaskHandle = osThreadCreate(osThread(BuzzerTask), NULL);

  /* USER CODE BEGIN RTOS_THREADS */
  /* add threads, ... */

    osThreadDef(chassisTask, Chassis_Task, osPriorityHigh, 0, 1024);
    ChassisTaskHandle = osThreadCreate(osThread(chassisTask), NULL);

    osThreadDef(detectTask, Detect_Task, osPriorityBelowNormal, 0, 128);
    DetectTaskHandle = osThreadCreate(osThread(detectTask), NULL);

    osThreadDef(informationTask, Information_Task, osPriorityNormal, 0, 128);
    InformationTaskHandle = osThreadCreate(osThread(informationTask), NULL);

    osThreadDef(shootTask, Shoot_Task, osPriorityNormal, 0, 128);
    ShootTaskHandle = osThreadCreate(osThread(shootTask), NULL);

    osThreadDef(gimbalTask, Gimbal_Task, osPriorityHigh, 0, 256);
    GimbalTaskHandle = osThreadCreate(osThread(gimbalTask), NULL);

    osThreadDef(supercapTask, Super_cap_Task, osPriorityBelowNormal, 0, 128);
    SupercapTaskHandle = osThreadCreate(osThread(supercapTask), NULL);

//Super_cap_Task
  /* USER CODE END RTOS_THREADS */

}

void StartDefaultTask(void const * argument)
{
  /* init code for USB_DEVICE */
  MX_USB_DEVICE_Init();
  /* USER CODE BEGIN StartDefaultTask */
  /* Infinite loop */
  for(;;)
  {
      vofa_demo();

    osDelay(10);
  }
  /* USER CODE END StartDefaultTask */
}

__weak void ImuTask_Entry(void const * argument)
{
  /* USER CODE BEGIN ImuTask_Entry */
    INS_Init();

  /* Infinite loop */
  for(;;)
  {
     INS_Task();

    osDelay(1);
  }
  /* USER CODE END ImuTask_Entry */
}

__weak void Buzzer_Task(void const * argument)
{
  for(;;)
  {
    osDelay(1);
  }
}
